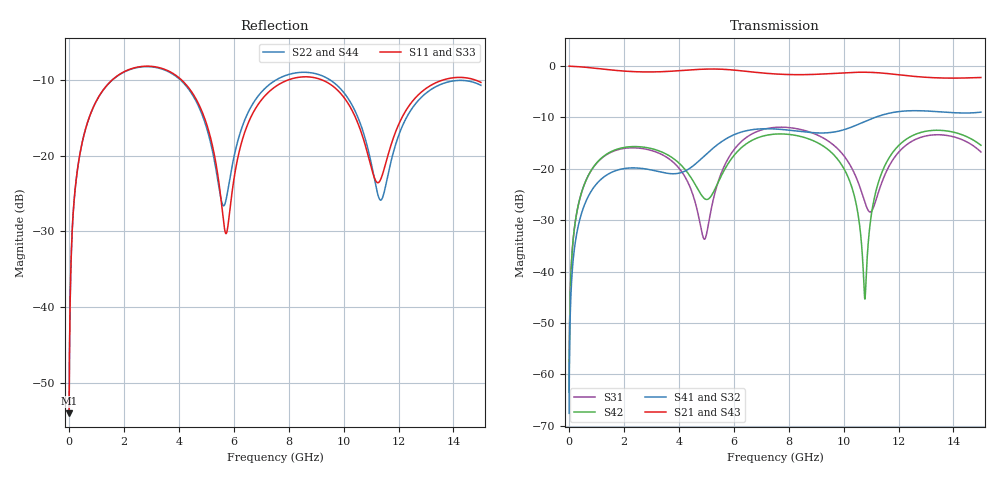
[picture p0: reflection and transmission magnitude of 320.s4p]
! Created with skrf 1.8.0 (http://scikit-rf.org).
# GHz S RI R 50.0
!freq ReS11 ImS11 ReS12 ImS12 ReS13 ImS13
! ReS14 ImS14
! ReS21 ImS21 ReS22 ImS22 ReS23 ImS23
! ReS24 ImS24
! ReS31 ImS31 ReS32 ImS32 ReS33 ImS33
! ReS34 ImS34
! ReS41 ImS41 ReS42 ImS42 ReS43 ImS43
! ReS44 ImS44
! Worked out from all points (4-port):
!   2499 points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, 5 MHz to 15 GHz, reference 50 ohm
!   strongest paths, dB at 5 MHz, 3.476 GHz, 7.19 GHz, 11.1 GHz, 15 GHz:
!     S21: 0.0, -1.1, -1.4, -1.2, -2.2
!     S43: 0.0, -1.1, -1.4, -1.2, -2.2
!     S41: -67.6, -20.8, -12.2, -10.1, -9.0
!     S32: -67.6, -20.8, -12.2, -10.1, -9.0
!     S42: -63.5, -16.9, -13.5, -26.2, -15.4
!     S31: -63.5, -17.5, -12.2, -27.3, -16.7
!   lowest |S11| = -54.1 dB at 5 MHz (marker M1), VSWR 1.00, Z = 50.2 + j0.12 ohm
!   |S11| at or under -10 dB: start of sweep to 1.56 GHz; 4.111 GHz to 7.95 GHz (3.839 GHz wide, 63.7 % of centre); 9.246 GHz to 13.59 GHz (4.341 GHz wide, 38 % of centre) (the widest 3 of 4)
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0.005  0.00158 0.0012  0.9984 -0.00308  8.06e-05 0.000667  -7.81e-05 -0.000412
       0.9984 -0.00308  0.00158 0.0012  -7.81e-05 -0.000412  8.07e-05 0.000667
       8.06e-05 0.000667  -7.81e-05 -0.000412  0.00158 0.0012  0.9984 -0.00308
       -7.81e-05 -0.000412  8.07e-05 0.000667  0.9984 -0.00308  0.00158 0.0012
0.3126303  0.0227 0.0789  0.9691 -0.1918  0.0106 0.0398  -0.00901 -0.0243
           0.9691 -0.1918  0.0226 0.0789  -0.00901 -0.0243  0.0111 0.0397
           0.0106 0.0398  -0.00901 -0.0243  0.0227 0.0789  0.9691 -0.1918
           -0.00901 -0.0243  0.0111 0.0397  0.9691 -0.1918  0.0226 0.0789
1.519383  0.2525 0.1819  0.5867 -0.706  0.1241 0.0745  -0.0909 -0.0125
          0.5867 -0.706  0.2504 0.1831  -0.0908 -0.0126  0.1308 0.0663
          0.1241 0.0745  -0.0908 -0.0126  0.2526 0.1819  0.5866 -0.706
          -0.0909 -0.0125  0.1308 0.0663  0.5866 -0.706  0.2504 0.1831
5.49604  0.0318 -0.0499  -0.9205 -0.1578  0.0271 0.0795  -0.0285 0.1769
         -0.9205 -0.1578  0.047 -0.032  -0.0298 0.1766  -0.0498 0.0631
         0.0271 0.0795  -0.0298 0.1766  0.0323 -0.0521  -0.9203 -0.158
         -0.0285 0.1769  -0.0498 0.0631  -0.9203 -0.158  0.0475 -0.0343
8.947478  0.3251 -0.0493  0.0452 0.8296  0.1799 -0.1251  0.2058 -0.09
          0.0452 0.8296  0.3414 -0.0805  0.2056 -0.0865  0.1767 -0.0561
          0.1799 -0.1251  0.2056 -0.0865  0.3258 -0.0529  0.0471 0.8293
          0.2058 -0.09  0.1767 -0.0561  0.0471 0.8293  0.3411 -0.0791
10.77324  0.09 -0.0801  0.7575 0.4314  -0.0357 -0.0316  0.1313 -0.2574
          0.7575 0.4314  0.0787 -0.1069  0.1363 -0.2547  0.00538 0.000581
          -0.0357 -0.0316  0.1363 -0.2547  0.0868 -0.0843  0.7587 0.4285
          0.1313 -0.2574  0.00538 0.000581  0.7587 0.4285  0.0829 -0.107
15  0.2941 -0.0852  -0.1047 -0.7673  0.0906 -0.1147  -0.3408 0.1044
    -0.1047 -0.7673  0.2838 -0.0726  -0.3425 0.0966  0.0906 -0.1436
    0.0906 -0.1147  -0.3425 0.0966  0.2937 -0.0872  -0.1139 -0.7658
    -0.3408 0.1044  0.0906 -0.1436  -0.1139 -0.7658  0.2813 -0.0769
